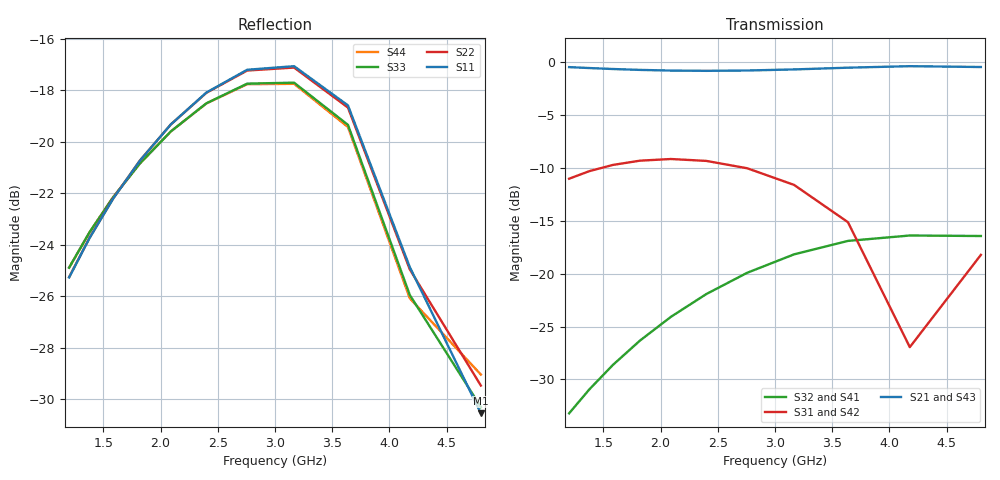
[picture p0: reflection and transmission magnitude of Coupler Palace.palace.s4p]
! Generated by circuitRF - EM: Palace
! circuitRF-EM setup: Coupler Palace
! circuitRF-EM layout: Coupler.c3d
! circuitRF-EM written: 2026-11-16 00:14:10Z
! circuitRF-EM stamp: 20261116T001410Z-837e220c
! circuitRF-EM geometry: ef2d7b0b4e1c25e8
! circuitRF-EM mesh settings: 515b2f8e0db4c114
! circuitRF-EM ports: 64b3fa3dfd019f7d
! circuitRF-EM model: Palace 0.18.1 (0dc74cd, schema 1-7-0)
! Port[1] = P1
! Port[2] = P2
! Port[3] = P3
! Port[4] = P4
! circuitRF-EM port 1: 'port/1' from 'U1/Bottom Copper (1 oz)/1' to 'U1/Top Copper (1 oz)/1', lumped, 50 Ohm
! circuitRF-EM port 2: 'port/2' from 'U1/Bottom Copper (1 oz)/1' to 'U1/Top Copper (1 oz)/1', lumped, 50 Ohm
! circuitRF-EM port 3: 'port/3' from 'U1/Bottom Copper (1 oz)/1' to 'U1/Top Copper (1 oz)/2', lumped, 50 Ohm
! circuitRF-EM port 4: 'port/4' from 'U1/Bottom Copper (1 oz)/1' to 'U1/Top Copper (1 oz)/2', lumped, 50 Ohm
! Port 1 = P01  P1  net=?  ref=U1/Bottom Copper (1 oz)/1  uncalibrated
! Port 2 = P02  P2  net=?  ref=U1/Bottom Copper (1 oz)/1  uncalibrated
! Port 3 = P03  P3  net=?  ref=U1/Bottom Copper (1 oz)/1  uncalibrated
! Port 4 = P04  P4  net=?  ref=U1/Bottom Copper (1 oz)/1  uncalibrated
! DC: none, the lowest row is 1.2 GHz; a circuit's DC solve through this file takes that row as DC
! circuitRF-EM 3D mesh: 58,156 elements initially, 348,222 finally, 3 adaptive pass(es), element order 1
! circuitRF-EM 3D operating temperature: 20 C
! circuitRF-EM 3D run: preset Draft; 58156 -> 348222 tetrahedra; 332229 unknowns; 3 refinement pass(es); 5 frequency sample(s)
! circuitRF-EM 3D run cost: wall 731 s; Palace peak memory 8.7 GB
! circuitRF-EM: re-running the EM setup rewrites this file. If circuitRF reports it as stale, the layout's cross-section changed after this file was written.
# GHz S RI R 50
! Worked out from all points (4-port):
!   11 points, 1.2 GHz to 4.8 GHz, reference 50 ohm
!   strongest paths, dB at 1.2 GHz, 1.583 GHz, 2.4 GHz, 3.638 GHz, 4.8 GHz:
!     S21: -0.5, -0.6, -0.8, -0.5, -0.5
!     S43: -0.5, -0.6, -0.8, -0.5, -0.5
!     S31: -11.0, -9.7, -9.3, -15.1, -18.2
!     S42: -11.0, -9.7, -9.3, -15.1, -18.4
!     S32: -33.2, -28.6, -21.9, -16.9, -16.4
!     S41: -33.2, -28.6, -21.9, -16.9, -16.4
!   lowest |S11| = -30.5 dB at 4.8 GHz (marker M1), VSWR 1.06, Z = 50.6 + j2.92 ohm
!   |S11| at or under -10 dB: start of sweep to end of sweep
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1.2  -0.0543 0.0055  -0.1869 -0.9294  0.2761 -0.0538  -0.0173 -0.0135
     -0.1869 -0.9294  -0.0544 0.00479  -0.0172 -0.0135  0.2759 -0.0546
     0.2761 -0.0538  -0.0172 -0.0135  -0.0567 0.00563  -0.1871 -0.9292
     -0.0173 -0.0135  0.2759 -0.0546  -0.1871 -0.9292  -0.0567 0.00555
2.089321  -0.0321 0.1032  -0.9065 -0.109  0.0496 -0.3451  -0.0456 0.0427
          -0.9065 -0.109  -0.0319 0.1033  -0.0457 0.0426  0.0476 -0.3453
          0.0496 -0.3451  -0.0457 0.0426  -0.032 0.0998  -0.9068 -0.1089
          -0.0456 0.0427  0.0476 -0.3453  -0.9068 -0.1089  -0.0314 0.1
2.756876  0.0733 0.117  -0.6285 0.6632  -0.2167 -0.229  0.034 0.095
          -0.6285 0.6632  0.0754 0.1151  0.0339 0.0951  -0.219 -0.2269
          -0.2167 -0.229  0.0339 0.0951  0.0672 0.111  -0.6288 0.6644
          0.034 0.095  -0.219 -0.2269  -0.6288 0.6644  0.0692 0.1094
3.166819  0.1259 0.0618  -0.165 0.9096  -0.2539 -0.0683  0.1085 0.0587
          -0.165 0.9096  0.1273 0.0569  0.1086 0.0588  -0.2552 -0.0645
          -0.2539 -0.0683  0.1086 0.0588  0.116 0.0593  -0.1638 0.9112
          0.1085 0.0587  -0.2552 -0.0645  -0.1638 0.9112  0.1173 0.0552
3.63772  0.1149 -0.0255  0.4507 0.8275  -0.1636 0.0629  0.1345 -0.0482
         0.4507 0.8275  0.112 -0.0325  0.1345 -0.0482  -0.1621 0.0679
         -0.1636 0.0629  0.1345 -0.0482  0.1058 -0.0215  0.4533 0.8272
         0.1345 -0.0482  -0.1621 0.0679  0.4533 0.8272  0.1032 -0.0276
4.178643  0.0285 -0.0495  0.9225 0.2576  -0.028 0.0351  0.0452 -0.1447
          0.9225 0.2576  0.0197 -0.053  0.0453 -0.1447  -0.0223 0.0383
          -0.028 0.0351  0.0453 -0.1447  0.0263 -0.043  0.9236 0.2549
          0.0452 -0.1447  -0.0223 0.0383  0.9236 0.2549  0.0175 -0.0465
4.8  0.00727 0.0288  0.7498 -0.5818  -0.081 -0.0922  -0.0875 -0.1226
     0.7498 -0.5818  -0.00104 0.0336  -0.0873 -0.1229  -0.0742 -0.0954
     -0.081 -0.0922  -0.0873 -0.1229  0.00868 0.0293  0.7481 -0.5837
     -0.0875 -0.1226  -0.0742 -0.0954  0.7481 -0.5837  -0.00102 0.0353
